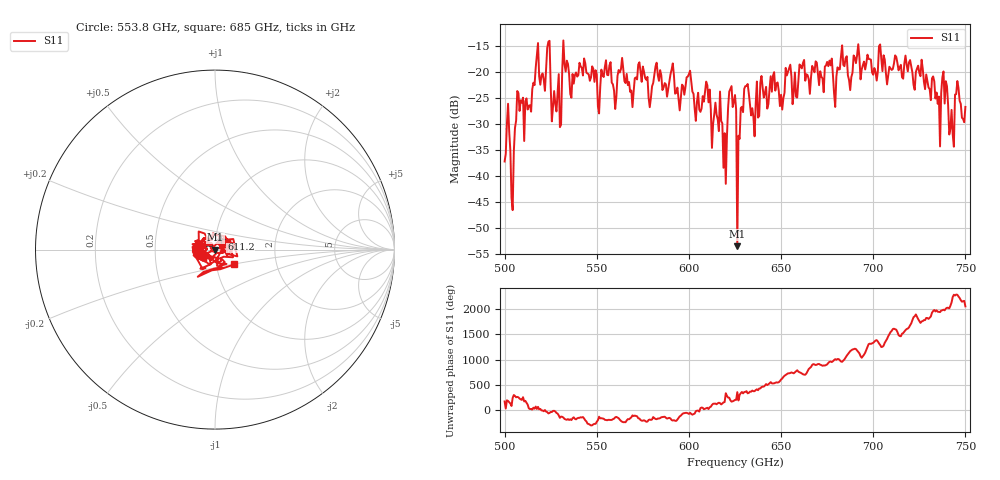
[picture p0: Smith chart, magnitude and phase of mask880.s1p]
!Created with skrf (http://scikit-rf.org).
# GHz S MA R 50.0
!freq magS11 angS11
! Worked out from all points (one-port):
!   401 points, 500 GHz to 750 GHz, reference 50 ohm
!   lowest |S11| = -53.5 dB at 626.2 GHz (marker M1), VSWR 1.00, Z = 50.2 - j0.00999 ohm
!   |S11| at or under -10 dB: start of sweep to end of sweep
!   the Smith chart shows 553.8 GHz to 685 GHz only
!   S11 on the Smith chart (normalised r, x): 553.8 GHz: 0.84, -0.03; 611.2 GHz: 1.07, +0.12; 685 GHz: 1.22, -0.21
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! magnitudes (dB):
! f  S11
! 500 GHz  -37.2
! 501.9 GHz  -26.1
! 504.4 GHz  -46.6
! 507.5 GHz  -24.1
! 513.8 GHz  -26.4
! 516.9 GHz  -19.2
! 523.8 GHz  -14.2
! 526.9 GHz  -23.7
! 531.2 GHz  -19.9
! 553.8 GHz  -21.0
! 562.5 GHz  -20.1
! 593.8 GHz  -23.0
! 611.2 GHz  -23.4
! 619.4 GHz  -31.8
! 623.8 GHz  -26.8
! 625 GHz  -24.5
! 626.2 GHz  -53.5
! 631.2 GHz  -22.7
! 634.4 GHz  -27.0
! 656.2 GHz  -26.2
! 685 GHz  -17.4
! 687.5 GHz  -23.5
! 718.8 GHz  -19.9
! 735 GHz  -26.2
! 738.8 GHz  -26.1
! 742.5 GHz  -27.3
! 745.6 GHz  -21.8
! 750 GHz  -26.7
